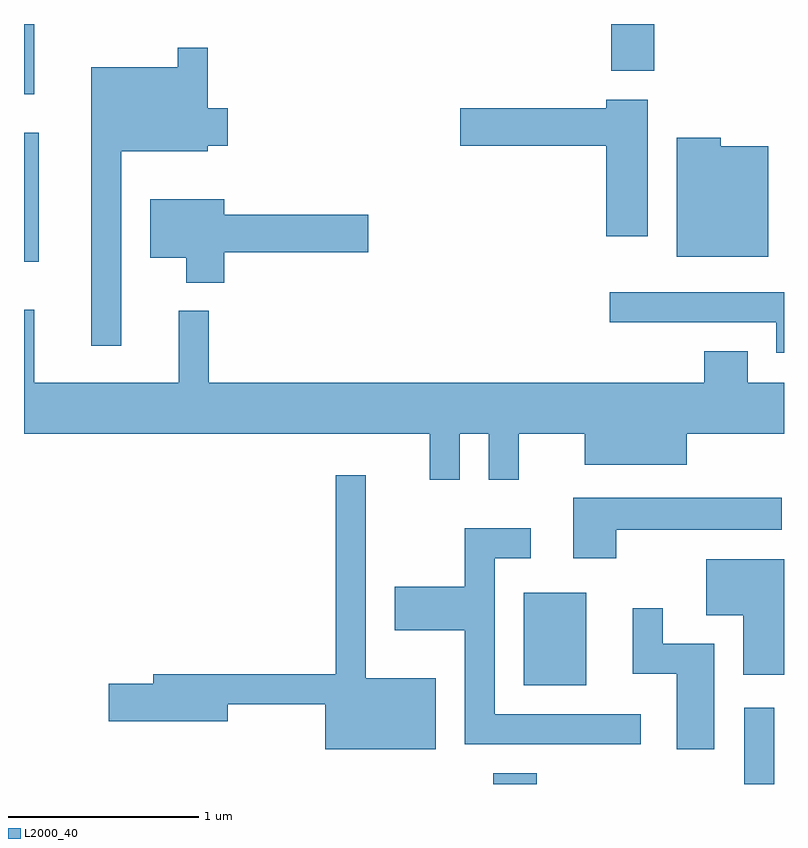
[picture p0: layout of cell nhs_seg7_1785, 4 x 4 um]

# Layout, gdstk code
import gdstk
lib = gdstk.Library(unit=1e-6, precision=1e-09)
def R(c, l, rs):  # rectangles x0, y0, x1, y1
    for r in rs: c.add(gdstk.rectangle(r[:2], r[2:], *l))
def P(c, l, *ps):  # polygons
    for p in ps: c.add(gdstk.Polygon(p, *l))
L2000_40 = (2000, 40)

nhs_seg7_1785 = lib.new_cell('nhs_seg7_1785')
R(nhs_seg7_1785, L2000_40, [(242.081,1710.252,242.309,1710.309), (243.401,1710.252,243.559,1710.653), (242.241,1710.771,242.569,1711.259), (239.611,1713.001,239.689,1713.679), (239.611,1713.883,239.664,1714.252), (242.701,1714.006,242.929,1714.252)])
P(nhs_seg7_1785, L2000_40, [(240.124,1713.581),(240.579,1713.581),(240.579,1713.611),(240.684,1713.611),(240.684,1713.809),(240.579,1713.809),(240.579,1714.128),(240.421,1714.128),(240.421,1714.024),(239.966,1714.024),(239.966,1712.558),(240.124,1712.558)],
  [(242.894,1713.854),(242.676,1713.854),(242.676,1713.809),(241.906,1713.809),(241.906,1713.611),(242.676,1713.611),(242.676,1713.136),(242.894,1713.136)],
  [(243.529,1713.609),(243.279,1713.609),(243.279,1713.654),(243.046,1713.654),(243.046,1713.026),(243.529,1713.026)],
  [(240.664,1713.051),(241.424,1713.051),(241.424,1713.249),(240.664,1713.249),(240.664,1713.329),(240.276,1713.329),(240.276,1713.021),(240.466,1713.021),(240.466,1712.891),(240.664,1712.891)],
  [(243.611,1712.839),(242.693,1712.839),(242.693,1712.681),(243.571,1712.681),(243.571,1712.521),(243.611,1712.521)],
  [(241.904,1712.096),(242.056,1712.096),(242.056,1711.853),(242.214,1711.853),(242.214,1712.096),(242.561,1712.096),(242.561,1711.931),(243.099,1711.931),(243.099,1712.096),(243.611,1712.096),(243.611,1712.364),(243.419,1712.364),(243.419,1712.529),(243.191,1712.529),(243.191,1712.364),(240.584,1712.364),(240.584,1712.743),(240.426,1712.743),(240.426,1712.364),(239.664,1712.364),(239.664,1712.748),(239.611,1712.748),(239.611,1712.096),(241.746,1712.096),(241.746,1711.853),(241.904,1711.853)],
  [(241.779,1710.809),(241.409,1710.809),(241.409,1711.878),(241.251,1711.878),(241.251,1710.829),(240.291,1710.829),(240.291,1710.779),(240.056,1710.779),(240.056,1710.581),(240.684,1710.581),(240.684,1710.671),(241.196,1710.671),(241.196,1710.436),(241.779,1710.436)],
  [(242.729,1711.591),(243.598,1711.591),(243.598,1711.759),(242.501,1711.759),(242.501,1711.441),(242.729,1711.441)],
  [(242.858,1710.619),(242.089,1710.619),(242.089,1711.441),(242.278,1711.441),(242.278,1711.599),(241.931,1711.599),(241.931,1711.289),(241.561,1711.289),(241.561,1711.061),(241.931,1711.061),(241.931,1710.461),(242.858,1710.461)],
  [(243.611,1711.434),(243.201,1711.434),(243.201,1711.141),(243.396,1711.141),(243.396,1710.826),(243.611,1710.826)],
  [(243.244,1710.989),(242.974,1710.989),(242.974,1711.178),(242.816,1711.178),(242.816,1710.831),(243.046,1710.831),(243.046,1710.436),(243.244,1710.436)])

lib.write_gds('nhs_seg7_1785.gds')
